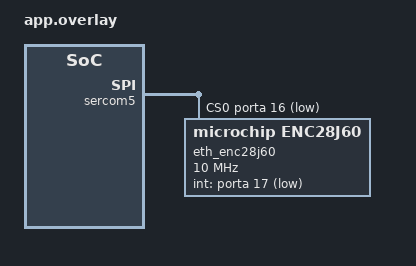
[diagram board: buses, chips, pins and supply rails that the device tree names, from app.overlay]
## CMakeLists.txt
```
# Copyright (c) 2021 Nordic Semiconductor ASA
# SPDX-License-Identifier: Apache-2.0

cmake_minimum_required(VERSION 3.28.0)

find_package(Zephyr REQUIRED HINTS $ENV{ZEPHYR_BASE})
project(ufsm292_zephyr_app_2026)

# Fontes principais da aplicação (ajuste o caminho se seu main.c estiver em outro diretório)
target_sources(app PRIVATE src/main.c)

# Inclusões e diretórios de chamadas de sistema
zephyr_syscall_include_directories(include)
zephyr_include_directories(include)

# Subdiretórios do projeto
add_subdirectory(drivers)
add_subdirectory(lib)
```

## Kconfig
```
# Copyright (c) 2021 Nordic Semiconductor ASA
# SPDX-License-Identifier: Apache-2.0
#
# This Kconfig file is picked by the Zephyr build system because it is defined
# as the module Kconfig entry point (see zephyr/module.yml). You can browse
# module options by going to Zephyr -> Modules in Kconfig.
source "Kconfig.zephyr"
```

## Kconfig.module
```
# Custom module options.

rsource "drivers/Kconfig"
rsource "lib/Kconfig"
```

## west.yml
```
manifest:
  self:
    west-commands: scripts/west-commands.yml

  remotes:
    - name: zephyrproject-rtos
      url-base: https://github.com/zephyrproject-rtos

  projects:
    - name: zephyr
      remote: zephyrproject-rtos
      revision: main
      import:
        name-allowlist:
          - cmsis_6
          - fatfs
          - hal_atmel
          - hal_nordic
          - hal_stm32
```

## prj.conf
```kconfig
# Configurações do Sistema & Logs
CONFIG_GPIO=y
CONFIG_SPI=y
CONFIG_LOG=y
CONFIG_MAIN_STACK_SIZE=2048

# Subsistema de Rede Core
CONFIG_NETWORKING=y
CONFIG_NET_DRIVERS=y
CONFIG_ETH_DRIVER=y
CONFIG_NET_L2_ETHERNET=y

# Driver de Ethernet SPI ENC28J60
CONFIG_ETH_ENC28J60=y

# Protocolo IPv4 e Sockets
CONFIG_NET_IPV4=y
CONFIG_NET_TCP=y
CONFIG_NET_SOCKETS=y
CONFIG_NET_LOG=n

# Entropia e Gerador Aleatório (Necessário para a pilha de rede sem hardware de RNG dedicado)
CONFIG_ENTROPY_GENERATOR=y
CONFIG_TEST_RANDOM_GENERATOR=y
CONFIG_TIMER_RANDOM_GENERATOR=y

# Buffers de Rede
CONFIG_NET_PKT_RX_COUNT=10
CONFIG_NET_PKT_TX_COUNT=10
CONFIG_NET_BUF_RX_COUNT=20
CONFIG_NET_BUF_TX_COUNT=20
CONFIG_NET_MAX_CONN=2
CONFIG_NET_MAX_CONTEXTS=2

# Configuração de IP e DHCP
CONFIG_NET_CONFIG_SETTINGS=y
CONFIG_NET_CONFIG_NEED_IPV4=y
CONFIG_NET_DHCPV4=y

# Cliente HTTP
CONFIG_HTTP_CLIENT=y
```

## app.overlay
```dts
#include <zephyr/dt-bindings/gpio/gpio.h>

/ {
    aliases {
        eth0 = &eth_enc28j60;
    };
};

&sercom5 {
    status = "okay";
    compatible = "atmel,sam0-spi";
    #address-cells = <1>;
    #size-cells = <0>;

    dipo = <0>; /* PAD[0] MISO */
    dopo = <2>; /* PAD[2] MOSI, PAD[3] SCK */

    cs-gpios = <&porta 16 GPIO_ACTIVE_LOW>;

    eth_enc28j60: enc28j60@0 {
        compatible = "microchip,enc28j60";
        reg = <0>;
        spi-max-frequency = <10000000>;
        int-gpios = <&porta 17 (GPIO_ACTIVE_LOW | GPIO_PULL_UP)>;
        
        /* Endereço MAC obrigatório de 6 bytes */
        local-mac-address = [00 04 A3 12 34 56];
        
        status = "okay";
    };
};
```

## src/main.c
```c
#include <zephyr/kernel.h>
#include <zephyr/sys/printk.h>
#include <zephyr/device.h>
#include <app/drivers/blink.h>

/* Obtém o dispositivo configurado com "compatible = blink-gpio-led" */
static const struct device *const blink_dev = DEVICE_DT_GET(DT_NODELABEL(blink_led));

int main(void)
{
    int ret;

    printk("\n=============================================\n");
    printk("   ZEPHYR RTOS - DRIVER NATIVO BLINK_GPIO_LED \n");
    printk("=============================================\n");

    /* 1. Validação de Prontidão do Dispositivo */
    if (!device_is_ready(blink_dev)) {
        printk("ERRO: Dispositivo de Blink customizado nao esta pronto!\n");
        return -ENODEV;
    }

    printk("Dispositivo de Blink customizado reconhecido pelo Kernel.\n");

    /* 2. Configura o período de piscada usando a API oficial do driver */
    ret = blink_set_period_ms(blink_dev, 500);
    if (ret < 0) {
        printk("ERRO (%d): Falha ao definir o periodo do LED!\n", ret);
        return ret;
    }

    printk("Periodo definido para 500ms via blink_set_period_ms().\n");

    /* 3. Loop principal monitorando o funcionamento */
    while (1) {
        printk("LOG: Driver Blink operando normalmente...\n");
        k_msleep(2000);
    }

    return 0;
}
```
